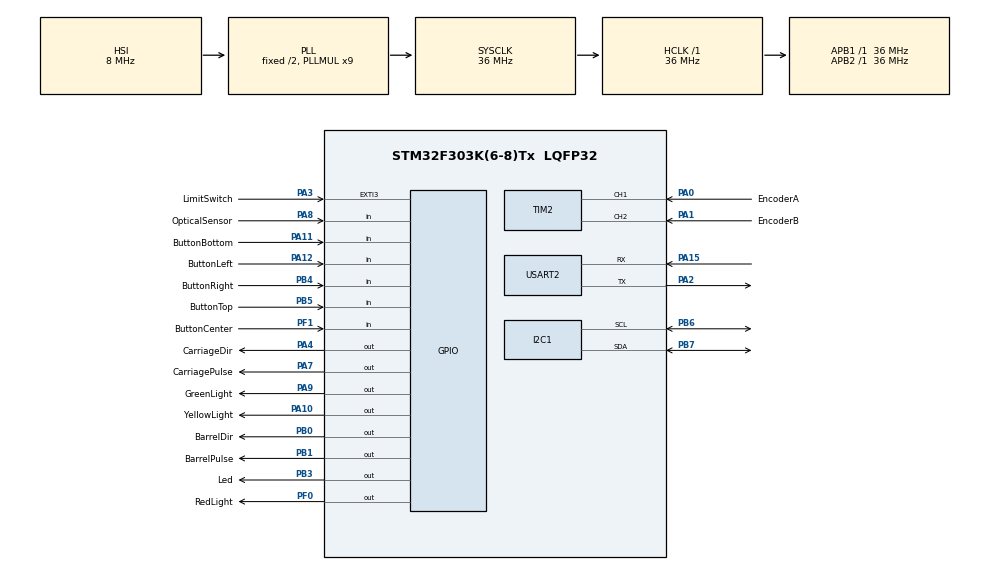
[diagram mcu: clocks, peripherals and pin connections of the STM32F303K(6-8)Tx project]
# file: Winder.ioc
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I2C1.Timing=0x00201D2B
Mcu.Family=STM32F3
Mcu.Name=STM32F303K(6-8)Tx
Mcu.Package=LQFP32
NVIC.EXTI3_IRQn=true\:0\:0\:false\:false\:true\:true\:true\:true
NVIC.PriorityGroup=NVIC_PRIORITYGROUP_4
NVIC.TIM1_CC_IRQn=true\:0\:0\:false\:false\:true\:true\:true\:true
NVIC.TIM3_IRQn=true\:0\:0\:false\:false\:true\:true\:true\:true
NVIC.TIM6_DAC1_IRQn=true\:0\:0\:false\:false\:true\:true\:true\:true
NVIC.TIM7_DAC2_IRQn=true\:0\:0\:false\:false\:true\:true\:true\:true
PA0.GPIO_Label=EncoderA
PA0.Signal=S_TIM2_CH1_ETR
PA1.GPIO_Label=EncoderB
PA1.Signal=S_TIM2_CH2
PA10.GPIO_Label=YellowLight
PA10.Signal=GPIO_Output
PA11.GPIO_Label=ButtonBottom
PA11.GPIO_PuPd=GPIO_PULLUP
PA11.Signal=GPIO_Input
PA12.GPIO_Label=ButtonLeft
PA12.GPIO_PuPd=GPIO_PULLUP
PA12.Signal=GPIO_Input
PA15.Mode=Asynchronous
PA15.Signal=USART2_RX
PA2.Mode=Asynchronous
PA2.Signal=USART2_TX
PA3.GPIO_Label=LimitSwitch
PA3.GPIO_PuPd=GPIO_PULLUP
PA3.Signal=GPXTI3
PA4.GPIO_Label=CarriageDir
PA4.Signal=GPIO_Output
PA7.GPIO_Label=CarriagePulse
PA7.Signal=GPIO_Output
PA8.GPIO_Label=OpticalSensor
PA8.GPIO_PuPd=GPIO_PULLUP
PA8.Signal=GPIO_Input
PA9.GPIO_Label=GreenLight
PA9.Signal=GPIO_Output
PB0.GPIO_Label=BarrelDir
PB0.Signal=GPIO_Output
PB1.GPIO_Label=BarrelPulse
PB1.Signal=GPIO_Output
PB3.GPIO_Label=Led
PB3.Signal=GPIO_Output
PB4.GPIO_Label=ButtonRight
PB4.GPIO_PuPd=GPIO_PULLUP
PB4.Signal=GPIO_Input
PB5.GPIO_Label=ButtonTop
PB5.GPIO_PuPd=GPIO_PULLUP
PB5.Signal=GPIO_Input
PB6.Mode=I2C
PB6.Signal=I2C1_SCL
PB7.Mode=I2C
PB7.Signal=I2C1_SDA
PF0\ /\ OSC_IN.GPIO_Label=RedLight
PF0\ /\ OSC_IN.Signal=GPIO_Output
PF1\ /\ OSC_OUT.GPIO_Label=ButtonCenter
PF1\ /\ OSC_OUT.GPIO_PuPd=GPIO_PULLUP
PF1\ /\ OSC_OUT.Signal=GPIO_Input
ProjectManager.HeapSize=0x200
ProjectManager.StackSize=0x400
ProjectManager.TargetToolchain=STM32CubeIDE
RCC.AHBFreq_Value=36000000
RCC.APB1Freq_Value=36000000
RCC.APB1TimFreq_Value=36000000
RCC.APB2Freq_Value=36000000
RCC.APB2TimFreq_Value=36000000
RCC.CortexFreq_Value=36000000
RCC.HCLKFreq_Value=36000000
RCC.HSE_VALUE=8000000
RCC.HSI_VALUE=8000000
RCC.PLLMUL=RCC_PLL_MUL9
RCC.SYSCLKFreq_VALUE=36000000
RCC.SYSCLKSourceVirtual=RCC_SYSCLKSOURCE_PLLCLK
SH.S_TIM2_CH1_ETR.0=TIM2_CH1,Encoder_Interface
SH.S_TIM2_CH2.0=TIM2_CH2,Encoder_Interface
TIM1.Channel-Output\ Compare1\ No\ Output=TIM_CHANNEL_1
TIM1.Prescaler=1
TIM3.Channel-Output\ Compare1\ No\ Output=TIM_CHANNEL_1
USART2.VirtualMode-Asynchronous=VM_ASYNC
VP_TIM1_VS_ClockSourceINT.Mode=Internal
VP_TIM1_VS_no_output1.Mode=Output Compare1 No Output
VP_TIM3_VS_ClockSourceINT.Mode=Internal
VP_TIM3_VS_no_output1.Mode=Output Compare1 No Output
VP_TIM6_VS_ClockSourceINT.Mode=Enable_Timer
VP_TIM7_VS_ClockSourceINT.Mode=Enable_Timer
board=custom

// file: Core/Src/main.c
/* USER CODE BEGIN Header */
/**
 ******************************************************************************
 * @file           : main.c
 * @brief          : Main program body
 ******************************************************************************
 * @attention
 *
 * Copyright (c) 2025 STMicroelectronics.
 * All rights reserved.
 *
 * This software is licensed under terms that can be found in the LICENSE file
 * in the root directory of this software component.
 * If no LICENSE file comes with this software, it is provided AS-IS.
 *
 ******************************************************************************
 */
/* USER CODE END Header */
#include "main.h"

/* USER CODE BEGIN Includes */
#include "utils.h"
#include "stepper.h"

#include "winder.h"
#include "wrap.h"
#include "lcd.h"
#include "gitversion.h"

#include <string.h>
#include <stdio.h>
#include <stdint.h>
#include <stdbool.h>
#include <math.h>

/* USER CODE END Includes */

I2C_HandleTypeDef hi2c1;

TIM_HandleTypeDef htim1;
TIM_HandleTypeDef htim2;
TIM_HandleTypeDef htim3;
TIM_HandleTypeDef htim6;
TIM_HandleTypeDef htim7;

UART_HandleTypeDef huart2;

void SystemClock_Config(void);
static void MX_GPIO_Init(void);
static void MX_I2C1_Init(void);
static void MX_USART2_UART_Init(void);
static void MX_TIM2_Init(void);
static void MX_TIM6_Init(void);
static void MX_TIM7_Init(void);
static void MX_TIM1_Init(void);
static void MX_TIM3_Init(void);

/* USER CODE BEGIN 0 */

// needed to send printf to the serial port
int __io_putchar(int ch) {
	HAL_UART_Transmit(&huart2, (uint8_t*) &ch, 1, HAL_MAX_DELAY);
	return ch;
}

int32_t readEncoderValue() {
    return __HAL_TIM_GET_COUNTER(&htim2);
}

static StepperConfiguration carriageConfig = {
    .stepperName            = "Carriage",
    .timerHandle            = &htim1,
    .compareRegister        = &TIM1->CCR1,
    .compareFlag            = TIM_FLAG_CC1,
    .compareInterruptSource = TIM_IT_CC1,
    .pulsePort              = CarriagePulse_GPIO_Port,
    .pulsePin               = CarriagePulse_Pin,
    .directionPort          = CarriageDir_GPIO_Port,
    .directionPin           = CarriageDir_Pin,
    .computeIrqNumber       = TIM6_DAC1_IRQn,
    .pulseWidthTicks        = 360u
};

static StepperConfiguration barrelConfig = {
	.stepperName            = "Barrel",
    .timerHandle            = &htim3,
    .compareRegister        = &TIM3->CCR1,
    .compareFlag            = TIM_FLAG_CC1,
    .compareInterruptSource = TIM_IT_CC1,
    .pulsePort              = BarrelPulse_GPIO_Port,
    .pulsePin               = BarrelPulse_Pin,
    .directionPort          = BarrelDir_GPIO_Port,
    .directionPin           = BarrelDir_Pin,
    .computeIrqNumber       = TIM7_DAC2_IRQn,
    .pulseWidthTicks        = 360u
};

Stepper barrelStepper, carriageStepper;
ButtonState bs;

void steppersInitAll(void)
{
    stepperInit(&barrelStepper,  &barrelConfig,  300000.0f );
    stepperInit(&carriageStepper,&carriageConfig,300000.0f );

    // Start timers + NVIC (do once)
    __HAL_RCC_TIM1_CLK_ENABLE();
    __HAL_RCC_TIM3_CLK_ENABLE();
    __HAL_RCC_TIM6_CLK_ENABLE();
    __HAL_RCC_TIM7_CLK_ENABLE();

    HAL_NVIC_SetPriority(TIM1_CC_IRQn,       0, 0);
    HAL_NVIC_EnableIRQ(TIM1_CC_IRQn);

    HAL_NVIC_SetPriority(TIM3_IRQn,       0, 0);
    HAL_NVIC_EnableIRQ(TIM3_IRQn);

    HAL_NVIC_SetPriority(TIM6_DAC1_IRQn,  1, 0);
    HAL_NVIC_EnableIRQ(TIM6_DAC1_IRQn);

    HAL_NVIC_SetPriority(TIM7_DAC2_IRQn,  1, 0);
    HAL_NVIC_EnableIRQ(TIM7_DAC2_IRQn);
}

void Carriage_IRQStartPulse(void) {
    stepperHandleIrq(&carriageStepper);
}

void Carriage_IRQHandler(void) {
	computeNextStepperEvent(&carriageStepper);
}

void Barrel_IRQStartPulse(void) {
    stepperHandleIrq(&barrelStepper);
}

void Barrel_IRQHandler(void) {
    computeNextStepperEvent(&barrelStepper);
}

// Called by HAL once EXTI3 interrupt is handled
void HAL_GPIO_EXTI_Callback(uint16_t GPIO_Pin) {
	if (GPIO_Pin == LimitSwitch_Pin) {
	    // The switch cuts the drives in hardware; tell the software so it stops
	    // and knows the carriage position is no longer trustworthy.
	    wrapLimitTripped = 1;
	}
}

void halt(char* message) {
    lcd_clear();
    lcd_write_string(message);
    printf("%s\r\n", message);

    // TODO stop interrupts and timers.

    while(1) {}
}
/* USER CODE END 0 */

int main(void)
{

  /* MCU Configuration--------------------------------------------------------*/

  /* Reset of all peripherals, Initializes the Flash interface and the Systick. */
  HAL_Init();

  /* Configure the system clock */
  SystemClock_Config();

  /* Initialize all configured peripherals */
  MX_GPIO_Init();
  MX_I2C1_Init();
  MX_USART2_UART_Init();
  MX_TIM2_Init();
  MX_TIM6_Init();
  MX_TIM7_Init();
  MX_TIM1_Init();
  MX_TIM3_Init();
  /* USER CODE BEGIN 2 */

  steppersInitAll();

  HAL_TIM_Base_Start(&htim1);
  HAL_TIM_Base_Start(&htim3);
  HAL_TIM_Base_Start(&htim6);
  HAL_TIM_Base_Start(&htim7);

  HAL_TIM_OC_Start(&htim1, TIM_CHANNEL_1);
  HAL_TIM_OC_Start(&htim3, TIM_CHANNEL_1);

  HAL_TIM_Encoder_Start(&htim2, TIM_CHANNEL_ALL);

//  while(1) {
//      int32_t  val = readEncoderValue();
//      val = __HAL_TIM_GET_COUNTER(&htim1);
//      printf("value = %ld\r\n", val);
//      HAL_Delay(500);
//  }

  // successfully moved the little stepper
//  while(1) {
//      HAL_GPIO_WritePin(BarrelPulse_GPIO_Port, BarrelPulse_Pin, GPIO_PIN_RESET);
//      HAL_Delay(2);
//      HAL_GPIO_WritePin(BarrelPulse_GPIO_Port, BarrelPulse_Pin, GPIO_PIN_SET);
//      HAL_Delay(2);
//  }

//  moveToPosition(&carriageStepper, 10000, 5000);
//
//  while(carriageStepper.currentPosition != carriageStepper.desiredPosition) {
//      printStepperInfo(&carriageStepper);
//      HAL_Delay(500);
//  }
//
//  moveToPosition(&carriageStepper, 1000, 2000);
//
//  while(carriageStepper.currentPosition != carriageStepper.desiredPosition) {
//      printStepperInfo(&carriageStepper);
//      HAL_Delay(500);
//  }
//
//  printf("---------------------\r\n");
//  printStepperInfo(&barrelStepper);

	// get the date as mm/dd/yy
	char date[9];
	convertDate(__DATE__, date);
	printf("Hello from the Winder -- Build: %s %s\r\n", date, __TIME__);

	initializeButtonState(&bs);
    setLight(RED);

	lcd_init(&hi2c1);
	lcd_clear();
	lcd_write_string("*** Jaso Winder ***");
	lcd_set_cursor(0, 1);
	lcd_write_string(date);
	lcd_write_string(" ");
	lcd_write_string(__TIME__);
    lcd_set_cursor(0, 2);
    lcd_write_string("Git Hash: ");
    lcd_write_string(GIT_HASH);
    lcd_set_cursor(0, 3);
    lcd_write_string("Press C to start");

    while(1) {
        updateButtonState(&bs);
        if(newPress(&bs.center)) break;
    }

  /* USER CODE END 2 */

  /* Infinite loop */
  /* USER CODE BEGIN WHILE */

	main_menu(date, __TIME__);

    /* USER CODE END WHILE */

}

void SystemClock_Config(void)
{
  RCC_OscInitTypeDef RCC_OscInitStruct = {0};
  RCC_ClkInitTypeDef RCC_ClkInitStruct = {0};
  RCC_PeriphCLKInitTypeDef PeriphClkInit = {0};

  /** Initializes the RCC Oscillators according to the specified parameters
  * in the RCC_OscInitTypeDef structure.
  */
  RCC_OscInitStruct.OscillatorType = RCC_OSCILLATORTYPE_HSI;
  RCC_OscInitStruct.HSIState = RCC_HSI_ON;
  RCC_OscInitStruct.HSICalibrationValue = RCC_HSICALIBRATION_DEFAULT;
  RCC_OscInitStruct.PLL.PLLState = RCC_PLL_ON;
  RCC_OscInitStruct.PLL.PLLSource = RCC_PLLSOURCE_HSI;
  RCC_OscInitStruct.PLL.PLLMUL = RCC_PLL_MUL9;
  if (HAL_RCC_OscConfig(&RCC_OscInitStruct) != HAL_OK)
  {
    Error_Handler();
  }

  /** Initializes the CPU, AHB and APB buses clocks
  */
  RCC_ClkInitStruct.ClockType = RCC_CLOCKTYPE_HCLK|RCC_CLOCKTYPE_SYSCLK
                              |RCC_CLOCKTYPE_PCLK1|RCC_CLOCKTYPE_PCLK2;
  RCC_ClkInitStruct.SYSCLKSource = RCC_SYSCLKSOURCE_PLLCLK;
  RCC_ClkInitStruct.AHBCLKDivider = RCC_SYSCLK_DIV1;
  RCC_ClkInitStruct.APB1CLKDivider = RCC_HCLK_DIV1;
  RCC_ClkInitStruct.APB2CLKDivider = RCC_HCLK_DIV1;

  if (HAL_RCC_ClockConfig(&RCC_ClkInitStruct, FLASH_LATENCY_1) != HAL_OK)
  {
    Error_Handler();
  }
  PeriphClkInit.PeriphClockSelection = RCC_PERIPHCLK_I2C1|RCC_PERIPHCLK_TIM1;
  PeriphClkInit.I2c1ClockSelection = RCC_I2C1CLKSOURCE_HSI;
  PeriphClkInit.Tim1ClockSelection = RCC_TIM1CLK_HCLK;
  if (HAL_RCCEx_PeriphCLKConfig(&PeriphClkInit) != HAL_OK)
  {
    Error_Handler();
  }
}

static void MX_I2C1_Init(void)
{

  hi2c1.Instance = I2C1;
  hi2c1.Init.Timing = 0x00201D2B;
  hi2c1.Init.OwnAddress1 = 0;
  hi2c1.Init.AddressingMode = I2C_ADDRESSINGMODE_7BIT;
  hi2c1.Init.DualAddressMode = I2C_DUALADDRESS_DISABLE;
  hi2c1.Init.OwnAddress2 = 0;
  hi2c1.Init.OwnAddress2Masks = I2C_OA2_NOMASK;
  hi2c1.Init.GeneralCallMode = I2C_GENERALCALL_DISABLE;
  hi2c1.Init.NoStretchMode = I2C_NOSTRETCH_DISABLE;
  if (HAL_I2C_Init(&hi2c1) != HAL_OK)
  {
    Error_Handler();
  }

  /** Configure Analogue filter
  */
  if (HAL_I2CEx_ConfigAnalogFilter(&hi2c1, I2C_ANALOGFILTER_ENABLE) != HAL_OK)
  {
    Error_Handler();
  }

  /** Configure Digital filter
  */
  if (HAL_I2CEx_ConfigDigitalFilter(&hi2c1, 0) != HAL_OK)
  {
    Error_Handler();
  }

}

static void MX_TIM1_Init(void)
{

  TIM_ClockConfigTypeDef sClockSourceConfig = {0};
  TIM_MasterConfigTypeDef sMasterConfig = {0};
  TIM_OC_InitTypeDef sConfigOC = {0};
  TIM_BreakDeadTimeConfigTypeDef sBreakDeadTimeConfig = {0};

  htim1.Instance = TIM1;
  htim1.Init.Prescaler = 1;
  htim1.Init.CounterMode = TIM_COUNTERMODE_UP;
  htim1.Init.Period = 65535;
  htim1.Init.ClockDivision = TIM_CLOCKDIVISION_DIV1;
  htim1.Init.RepetitionCounter = 0;
  htim1.Init.AutoReloadPreload = TIM_AUTORELOAD_PRELOAD_DISABLE;
  if (HAL_TIM_Base_Init(&htim1) != HAL_OK)
  {
    Error_Handler();
  }
  sClockSourceConfig.ClockSource = TIM_CLOCKSOURCE_INTERNAL;
  if (HAL_TIM_ConfigClockSource(&htim1, &sClockSourceConfig) != HAL_OK)
  {
    Error_Handler();
  }
  if (HAL_TIM_OC_Init(&htim1) != HAL_OK)
  {
    Error_Handler();
  }
  sMasterConfig.MasterOutputTrigger = TIM_TRGO_RESET;
  sMasterConfig.MasterOutputTrigger2 = TIM_TRGO2_RESET;
  sMasterConfig.MasterSlaveMode = TIM_MASTERSLAVEMODE_DISABLE;
  if (HAL_TIMEx_MasterConfigSynchronization(&htim1, &sMasterConfig) != HAL_OK)
  {
    Error_Handler();
  }
  sConfigOC.OCMode = TIM_OCMODE_TIMING;
  sConfigOC.Pulse = 0;
  sConfigOC.OCPolarity = TIM_OCPOLARITY_HIGH;
  sConfigOC.OCNPolarity = TIM_OCNPOLARITY_HIGH;
  sConfigOC.OCFastMode = TIM_OCFAST_DISABLE;
  sConfigOC.OCIdleState = TIM_OCIDLESTATE_RESET;
  sConfigOC.OCNIdleState = TIM_OCNIDLESTATE_RESET;
  if (HAL_TIM_OC_ConfigChannel(&htim1, &sConfigOC, TIM_CHANNEL_1) != HAL_OK)
  {
    Error_Handler();
  }
  sBreakDeadTimeConfig.OffStateRunMode = TIM_OSSR_DISABLE;
  sBreakDeadTimeConfig.OffStateIDLEMode = TIM_OSSI_DISABLE;
  sBreakDeadTimeConfig.LockLevel = TIM_LOCKLEVEL_OFF;
  sBreakDeadTimeConfig.DeadTime = 0;
  sBreakDeadTimeConfig.BreakState = TIM_BREAK_DISABLE;
  sBreakDeadTimeConfig.BreakPolarity = TIM_BREAKPOLARITY_HIGH;
  sBreakDeadTimeConfig.BreakFilter = 0;
  sBreakDeadTimeConfig.Break2State = TIM_BREAK2_DISABLE;
  sBreakDeadTimeConfig.Break2Polarity = TIM_BREAK2POLARITY_HIGH;
  sBreakDeadTimeConfig.Break2Filter = 0;
  sBreakDeadTimeConfig.AutomaticOutput = TIM_AUTOMATICOUTPUT_DISABLE;
  if (HAL_TIMEx_ConfigBreakDeadTime(&htim1, &sBreakDeadTimeConfig) != HAL_OK)
  {
    Error_Handler();
  }

}

static void MX_TIM2_Init(void)
{

  TIM_Encoder_InitTypeDef sConfig = {0};
  TIM_MasterConfigTypeDef sMasterConfig = {0};

  htim2.Instance = TIM2;
  htim2.Init.Prescaler = 0;
  htim2.Init.CounterMode = TIM_COUNTERMODE_UP;
  htim2.Init.Period = 4294967295;
  htim2.Init.ClockDivision = TIM_CLOCKDIVISION_DIV1;
  htim2.Init.AutoReloadPreload = TIM_AUTORELOAD_PRELOAD_DISABLE;
  sConfig.EncoderMode = TIM_ENCODERMODE_TI1;
  sConfig.IC1Polarity = TIM_ICPOLARITY_RISING;
  sConfig.IC1Selection = TIM_ICSELECTION_DIRECTTI;
  sConfig.IC1Prescaler = TIM_ICPSC_DIV1;
  sConfig.IC1Filter = 0;
  sConfig.IC2Polarity = TIM_ICPOLARITY_RISING;
  sConfig.IC2Selection = TIM_ICSELECTION_DIRECTTI;
  sConfig.IC2Prescaler = TIM_ICPSC_DIV1;
  sConfig.IC2Filter = 0;
  if (HAL_TIM_Encoder_Init(&htim2, &sConfig) != HAL_OK)
  {
    Error_Handler();
  }
  sMasterConfig.MasterOutputTrigger = TIM_TRGO_RESET;
  sMasterConfig.MasterSlaveMode = TIM_MASTERSLAVEMODE_DISABLE;
  if (HAL_TIMEx_MasterConfigSynchronization(&htim2, &sMasterConfig) != HAL_OK)
  {
    Error_Handler();
  }

}

static void MX_TIM3_Init(void)
{

  TIM_ClockConfigTypeDef sClockSourceConfig = {0};
  TIM_MasterConfigTypeDef sMasterConfig = {0};
  TIM_OC_InitTypeDef sConfigOC = {0};

  htim3.Instance = TIM3;
  htim3.Init.Prescaler = 0;
  htim3.Init.CounterMode = TIM_COUNTERMODE_UP;
  htim3.Init.Period = 65535;
  htim3.Init.ClockDivision = TIM_CLOCKDIVISION_DIV1;
  htim3.Init.AutoReloadPreload = TIM_AUTORELOAD_PRELOAD_DISABLE;
  if (HAL_TIM_Base_Init(&htim3) != HAL_OK)
  {
    Error_Handler();
  }
  sClockSourceConfig.ClockSource = TIM_CLOCKSOURCE_INTERNAL;
  if (HAL_TIM_ConfigClockSource(&htim3, &sClockSourceConfig) != HAL_OK)
  {
    Error_Handler();
  }
  if (HAL_TIM_OC_Init(&htim3) != HAL_OK)
  {
    Error_Handler();
  }
  sMasterConfig.MasterOutputTrigger = TIM_TRGO_RESET;
  sMasterConfig.MasterSlaveMode = TIM_MASTERSLAVEMODE_DISABLE;
  if (HAL_TIMEx_MasterConfigSynchronization(&htim3, &sMasterConfig) != HAL_OK)
  {
    Error_Handler();
  }
  sConfigOC.OCMode = TIM_OCMODE_TIMING;
  sConfigOC.Pulse = 0;
  sConfigOC.OCPolarity = TIM_OCPOLARITY_HIGH;
  sConfigOC.OCFastMode = TIM_OCFAST_DISABLE;
  if (HAL_TIM_OC_ConfigChannel(&htim3, &sConfigOC, TIM_CHANNEL_1) != HAL_OK)
  {
    Error_Handler();
  }

}

static void MX_TIM6_Init(void)
{

  TIM_MasterConfigTypeDef sMasterConfig = {0};

  htim6.Instance = TIM6;
  htim6.Init.Prescaler = 0;
  htim6.Init.CounterMode = TIM_COUNTERMODE_UP;
  htim6.Init.Period = 65535;
  htim6.Init.AutoReloadPreload = TIM_AUTORELOAD_PRELOAD_DISABLE;
  if (HAL_TIM_Base_Init(&htim6) != HAL_OK)
  {
    Error_Handler();
  }
  sMasterConfig.MasterOutputTrigger = TIM_TRGO_RESET;
  sMasterConfig.MasterSlaveMode = TIM_MASTERSLAVEMODE_DISABLE;
  if (HAL_TIMEx_MasterConfigSynchronization(&htim6, &sMasterConfig) != HAL_OK)
  {
    Error_Handler();
  }

}

static void MX_TIM7_Init(void)
{

  TIM_MasterConfigTypeDef sMasterConfig = {0};

  htim7.Instance = TIM7;
  htim7.Init.Prescaler = 0;
  htim7.Init.CounterMode = TIM_COUNTERMODE_UP;
  htim7.Init.Period = 65535;
  htim7.Init.AutoReloadPreload = TIM_AUTORELOAD_PRELOAD_DISABLE;
  if (HAL_TIM_Base_Init(&htim7) != HAL_OK)
  {
    Error_Handler();
  }
  sMasterConfig.MasterOutputTrigger = TIM_TRGO_RESET;
  sMasterConfig.MasterSlaveMode = TIM_MASTERSLAVEMODE_DISABLE;
  if (HAL_TIMEx_MasterConfigSynchronization(&htim7, &sMasterConfig) != HAL_OK)
  {
    Error_Handler();
  }

}

static void MX_USART2_UART_Init(void)
{

  huart2.Instance = USART2;
  huart2.Init.BaudRate = 38400;
  huart2.Init.WordLength = UART_WORDLENGTH_8B;
  huart2.Init.StopBits = UART_STOPBITS_1;
  huart2.Init.Parity = UART_PARITY_NONE;
  huart2.Init.Mode = UART_MODE_TX_RX;
  huart2.Init.HwFlowCtl = UART_HWCONTROL_NONE;
  huart2.Init.OverSampling = UART_OVERSAMPLING_16;
  huart2.Init.OneBitSampling = UART_ONE_BIT_SAMPLE_DISABLE;
  huart2.AdvancedInit.AdvFeatureInit = UART_ADVFEATURE_NO_INIT;
  if (HAL_UART_Init(&huart2) != HAL_OK)
  {
    Error_Handler();
  }

}

static void MX_GPIO_Init(void)
{
  GPIO_InitTypeDef GPIO_InitStruct = {0};

  /* GPIO Ports Clock Enable */
  __HAL_RCC_GPIOF_CLK_ENABLE();
  __HAL_RCC_GPIOA_CLK_ENABLE();
  __HAL_RCC_GPIOB_CLK_ENABLE();

  /*Configure GPIO pin Output Level */
  HAL_GPIO_WritePin(RedLight_GPIO_Port, RedLight_Pin, GPIO_PIN_RESET);

  /*Configure GPIO pin Output Level */
  HAL_GPIO_WritePin(GPIOA, CarriageDir_Pin|CarriagePulse_Pin|GreenLight_Pin|YellowLight_Pin, GPIO_PIN_RESET);

  /*Configure GPIO pin Output Level */
  HAL_GPIO_WritePin(GPIOB, BarrelDir_Pin|BarrelPulse_Pin|Led_Pin, GPIO_PIN_RESET);

  /*Configure GPIO pin : RedLight_Pin */
  GPIO_InitStruct.Pin = RedLight_Pin;
  GPIO_InitStruct.Mode = GPIO_MODE_OUTPUT_PP;
  GPIO_InitStruct.Pull = GPIO_NOPULL;
  GPIO_InitStruct.Speed = GPIO_SPEED_FREQ_LOW;
  HAL_GPIO_Init(RedLight_GPIO_Port, &GPIO_InitStruct);

  /*Configure GPIO pin : ButtonCenter_Pin */
  GPIO_InitStruct.Pin = ButtonCenter_Pin;
  GPIO_InitStruct.Mode = GPIO_MODE_INPUT;
  GPIO_InitStruct.Pull = GPIO_PULLUP;
  HAL_GPIO_Init(ButtonCenter_GPIO_Port, &GPIO_InitStruct);

  /*Configure GPIO pin : LimitSwitch_Pin */
  GPIO_InitStruct.Pin = LimitSwitch_Pin;
  GPIO_InitStruct.Mode = GPIO_MODE_IT_RISING;
  GPIO_InitStruct.Pull = GPIO_PULLUP;
  HAL_GPIO_Init(LimitSwitch_GPIO_Port, &GPIO_InitStruct);

  /*Configure GPIO pins : CarriageDir_Pin CarriagePulse_Pin GreenLight_Pin YellowLight_Pin */
  GPIO_InitStruct.Pin = CarriageDir_Pin|CarriagePulse_Pin|GreenLight_Pin|YellowLight_Pin;
  GPIO_InitStruct.Mode = GPIO_MODE_OUTPUT_PP;
  GPIO_InitStruct.Pull = GPIO_NOPULL;
  GPIO_InitStruct.Speed = GPIO_SPEED_FREQ_LOW;
  HAL_GPIO_Init(GPIOA, &GPIO_InitStruct);

  /*Configure GPIO pins : BarrelDir_Pin BarrelPulse_Pin Led_Pin */
  GPIO_InitStruct.Pin = BarrelDir_Pin|BarrelPulse_Pin|Led_Pin;
  GPIO_InitStruct.Mode = GPIO_MODE_OUTPUT_PP;
  GPIO_InitStruct.Pull = GPIO_NOPULL;
  GPIO_InitStruct.Speed = GPIO_SPEED_FREQ_LOW;
  HAL_GPIO_Init(GPIOB, &GPIO_InitStruct);

  /*Configure GPIO pins : OpticalSensor_Pin ButtonBottom_Pin ButtonLeft_Pin */
  GPIO_InitStruct.Pin = OpticalSensor_Pin|ButtonBottom_Pin|ButtonLeft_Pin;
  GPIO_InitStruct.Mode = GPIO_MODE_INPUT;
  GPIO_InitStruct.Pull = GPIO_PULLUP;
  HAL_GPIO_Init(GPIOA, &GPIO_InitStruct);

  /*Configure GPIO pins : ButtonRight_Pin ButtonTop_Pin */
  GPIO_InitStruct.Pin = ButtonRight_Pin|ButtonTop_Pin;
  GPIO_InitStruct.Mode = GPIO_MODE_INPUT;
  GPIO_InitStruct.Pull = GPIO_PULLUP;
  HAL_GPIO_Init(GPIOB, &GPIO_InitStruct);

  /* EXTI interrupt init*/
  HAL_NVIC_SetPriority(EXTI3_IRQn, 0, 0);
  HAL_NVIC_EnableIRQ(EXTI3_IRQn);

}

void Error_Handler(void)
{
	__disable_irq();
	while (1) {
	}
}
